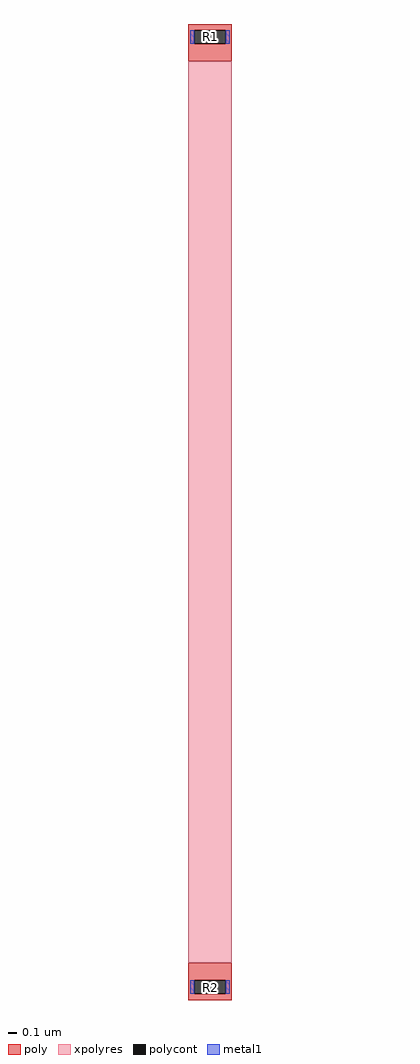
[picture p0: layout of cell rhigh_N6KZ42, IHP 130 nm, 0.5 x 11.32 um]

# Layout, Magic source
magic
tech ihp-sg13cmos5l
<< poly >>
rect -25 559 25 566
rect -25 543 -18 559
rect 18 543 25 559
rect -25 523 25 543
rect -25 -543 25 -523
rect -25 -559 -18 -543
rect 18 -559 25 -543
rect -25 -566 25 -559
<< polycont >>
rect -18 543 18 559
rect -18 -559 18 -543
<< xpolyres >>
rect -25 -523 25 523
<< metal1 >>
rect -23 543 -18 559
rect 18 543 23 559
rect -23 -559 -18 -543
rect 18 -559 23 -543
<< labels >>
rlabel polycont 0 551 0 551 0 R1
port 59 nsew
rlabel polycont 0 -551 0 -551 0 R2
port 60 nsew
<< properties >>
string gencell rhigh
string library sg13cmos5l
string MASKHINTS_CONTBAR -25 -566 25 566
string parameters w 0.5 l 10.47 m 1 nx 1 wmin 0.50 lmin 0.50 class resistor rho 1360 val 28.478k dummy 0 dw 0.0 term 0.0 sterm 0.0 caplen 0 bar 1 guard 0 glc 1 grc 1 gtc 1 gbc 1 snake 0 full_metal 1 n_guard 0 hv_guard 0 vias 0 viagb 0 viagt 0 viagl 0 viagr 0 doports 1
<< end >>
